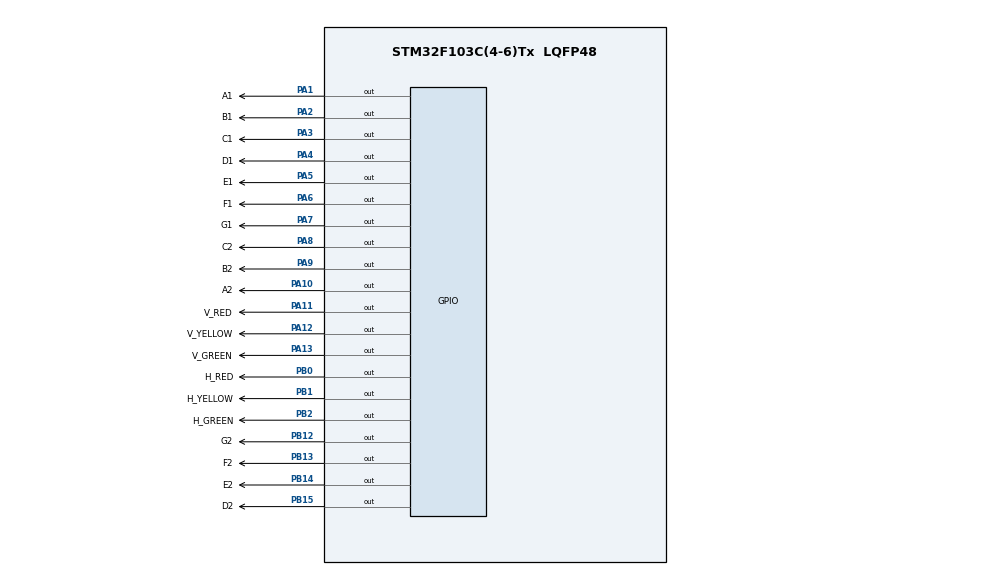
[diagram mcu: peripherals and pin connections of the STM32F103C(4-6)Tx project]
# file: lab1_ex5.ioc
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Mcu.Family=STM32F1
Mcu.Name=STM32F103C(4-6)Tx
Mcu.Package=LQFP48
NVIC.PriorityGroup=NVIC_PRIORITYGROUP_4
PA1.GPIO_Label=A1
PA1.Signal=GPIO_Output
PA10.GPIO_Label=A2
PA10.Signal=GPIO_Output
PA11.GPIO_Label=V_RED
PA11.Signal=GPIO_Output
PA12.GPIO_Label=V_YELLOW
PA12.Signal=GPIO_Output
PA13.GPIO_Label=V_GREEN
PA13.Signal=GPIO_Output
PA2.GPIO_Label=B1
PA2.Signal=GPIO_Output
PA3.GPIO_Label=C1
PA3.Signal=GPIO_Output
PA4.GPIO_Label=D1
PA4.Signal=GPIO_Output
PA5.GPIO_Label=E1
PA5.Signal=GPIO_Output
PA6.GPIO_Label=F1
PA6.Signal=GPIO_Output
PA7.GPIO_Label=G1
PA7.Signal=GPIO_Output
PA8.GPIO_Label=C2
PA8.Signal=GPIO_Output
PA9.GPIO_Label=B2
PA9.Signal=GPIO_Output
PB0.GPIO_Label=H_RED
PB0.Signal=GPIO_Output
PB1.GPIO_Label=H_YELLOW
PB1.Signal=GPIO_Output
PB12.GPIO_Label=G2
PB12.Signal=GPIO_Output
PB13.GPIO_Label=F2
PB13.Signal=GPIO_Output
PB14.GPIO_Label=E2
PB14.Signal=GPIO_Output
PB15.GPIO_Label=D2
PB15.Signal=GPIO_Output
PB2.GPIO_Label=H_GREEN
PB2.Signal=GPIO_Output
ProjectManager.HeapSize=0x200
ProjectManager.StackSize=0x400
ProjectManager.TargetToolchain=STM32CubeIDE
RCC.APB1Freq_Value=8000000
RCC.APB2Freq_Value=8000000
VP_SYS_VS_ND.Mode=No_Debug
board=custom

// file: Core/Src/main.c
/* USER CODE BEGIN Header */
/**
  ******************************************************************************
  * @file           : main.c
  * @brief          : Main program body
  ******************************************************************************
  * @attention
  *
  * <h2><center>&copy; Copyright (c) 2023 STMicroelectronics.
  * All rights reserved.</center></h2>
  *
  * This software component is licensed by ST under BSD 3-Clause license,
  * the "License"; You may not use this file except in compliance with the
  * License. You may obtain a copy of the License at:
  *                        opensource.org/licenses/BSD-3-Clause
  *
  ******************************************************************************
  */
/* USER CODE END Header */
#include "main.h"

void SystemClock_Config(void);
static void MX_GPIO_Init(void);

/* USER CODE BEGIN 0 */
void display7SEG_1(int num)
{
	switch (num)
	{
	case 0:
		HAL_GPIO_WritePin(A1_GPIO_Port, A1_Pin, RESET);
		HAL_GPIO_WritePin(B1_GPIO_Port, B1_Pin, RESET);
		HAL_GPIO_WritePin(C1_GPIO_Port, C1_Pin, RESET);
		HAL_GPIO_WritePin(D1_GPIO_Port, D1_Pin, RESET);
		HAL_GPIO_WritePin(E1_GPIO_Port, E1_Pin, RESET);
		HAL_GPIO_WritePin(F1_GPIO_Port, F1_Pin, RESET);
		HAL_GPIO_WritePin(G1_GPIO_Port, G1_Pin, SET);
		break;
	case 1:
		HAL_GPIO_WritePin(A1_GPIO_Port, A1_Pin, SET);
		HAL_GPIO_WritePin(B1_GPIO_Port, B1_Pin, RESET);
		HAL_GPIO_WritePin(C1_GPIO_Port, C1_Pin, RESET);
		HAL_GPIO_WritePin(D1_GPIO_Port, D1_Pin, SET);
		HAL_GPIO_WritePin(E1_GPIO_Port, E1_Pin, SET);
		HAL_GPIO_WritePin(F1_GPIO_Port, F1_Pin, SET);
		HAL_GPIO_WritePin(G1_GPIO_Port, G1_Pin, SET);
		break;
	case 2:
		HAL_GPIO_WritePin(A1_GPIO_Port, A1_Pin, RESET);
		HAL_GPIO_WritePin(B1_GPIO_Port, B1_Pin, RESET);
		HAL_GPIO_WritePin(C1_GPIO_Port, C1_Pin, SET);
		HAL_GPIO_WritePin(D1_GPIO_Port, D1_Pin, RESET);
		HAL_GPIO_WritePin(E1_GPIO_Port, E1_Pin, RESET);
		HAL_GPIO_WritePin(F1_GPIO_Port, F1_Pin, SET);
		HAL_GPIO_WritePin(G1_GPIO_Port, G1_Pin, RESET);
		break;
	case 3:
		HAL_GPIO_WritePin(A1_GPIO_Port, A1_Pin, RESET);
		HAL_GPIO_WritePin(B1_GPIO_Port, B1_Pin, RESET);
		HAL_GPIO_WritePin(C1_GPIO_Port, C1_Pin, RESET);
		HAL_GPIO_WritePin(D1_GPIO_Port, D1_Pin, RESET);
		HAL_GPIO_WritePin(E1_GPIO_Port, E1_Pin, SET);
		HAL_GPIO_WritePin(F1_GPIO_Port, F1_Pin, SET);
		HAL_GPIO_WritePin(G1_GPIO_Port, G1_Pin, RESET);
		break;
	case 4:
		HAL_GPIO_WritePin(A1_GPIO_Port, A1_Pin, SET);
		HAL_GPIO_WritePin(B1_GPIO_Port, B1_Pin, RESET);
		HAL_GPIO_WritePin(C1_GPIO_Port, C1_Pin, RESET);
		HAL_GPIO_WritePin(D1_GPIO_Port, D1_Pin, SET);
		HAL_GPIO_WritePin(E1_GPIO_Port, E1_Pin, SET);
		HAL_GPIO_WritePin(F1_GPIO_Port, F1_Pin, RESET);
		HAL_GPIO_WritePin(G1_GPIO_Port, G1_Pin, RESET);
		break;
	case 5:
		HAL_GPIO_WritePin(A1_GPIO_Port, A1_Pin, RESET);
		HAL_GPIO_WritePin(B1_GPIO_Port, B1_Pin, SET);
		HAL_GPIO_WritePin(C1_GPIO_Port, C1_Pin, RESET);
		HAL_GPIO_WritePin(D1_GPIO_Port, D1_Pin, RESET);
		HAL_GPIO_WritePin(E1_GPIO_Port, E1_Pin, SET);
		HAL_GPIO_WritePin(F1_GPIO_Port, F1_Pin, RESET);
		HAL_GPIO_WritePin(G1_GPIO_Port, G1_Pin, RESET);
		break;
	case 6:
		HAL_GPIO_WritePin(A1_GPIO_Port, A1_Pin, RESET);
		HAL_GPIO_WritePin(B1_GPIO_Port, B1_Pin, SET);
		HAL_GPIO_WritePin(C1_GPIO_Port, C1_Pin, RESET);
		HAL_GPIO_WritePin(D1_GPIO_Port, D1_Pin, RESET);
		HAL_GPIO_WritePin(E1_GPIO_Port, E1_Pin, RESET);
		HAL_GPIO_WritePin(F1_GPIO_Port, F1_Pin, RESET);
		HAL_GPIO_WritePin(G1_GPIO_Port, G1_Pin, RESET);
		break;
	case 7:
		HAL_GPIO_WritePin(A1_GPIO_Port, A1_Pin, RESET);
		HAL_GPIO_WritePin(B1_GPIO_Port, B1_Pin, RESET);
		HAL_GPIO_WritePin(C1_GPIO_Port, C1_Pin, RESET);
		HAL_GPIO_WritePin(D1_GPIO_Port, D1_Pin, SET);
		HAL_GPIO_WritePin(E1_GPIO_Port, E1_Pin, SET);
		HAL_GPIO_WritePin(F1_GPIO_Port, F1_Pin, SET);
		HAL_GPIO_WritePin(G1_GPIO_Port, G1_Pin, SET);
		break;
	case 8:
		HAL_GPIO_WritePin(A1_GPIO_Port, A1_Pin, RESET);
		HAL_GPIO_WritePin(B1_GPIO_Port, B1_Pin, RESET);
		HAL_GPIO_WritePin(C1_GPIO_Port, C1_Pin, RESET);
		HAL_GPIO_WritePin(D1_GPIO_Port, D1_Pin, RESET);
		HAL_GPIO_WritePin(E1_GPIO_Port, E1_Pin, RESET);
		HAL_GPIO_WritePin(F1_GPIO_Port, F1_Pin, RESET);
		HAL_GPIO_WritePin(G1_GPIO_Port, G1_Pin, RESET);
		break;
	case 9:
		HAL_GPIO_WritePin(A1_GPIO_Port, A1_Pin, RESET);
		HAL_GPIO_WritePin(B1_GPIO_Port, B1_Pin, RESET);
		HAL_GPIO_WritePin(C1_GPIO_Port, C1_Pin, RESET);
		HAL_GPIO_WritePin(D1_GPIO_Port, D1_Pin, RESET);
		HAL_GPIO_WritePin(E1_GPIO_Port, E1_Pin, SET);
		HAL_GPIO_WritePin(F1_GPIO_Port, F1_Pin, RESET);
		HAL_GPIO_WritePin(G1_GPIO_Port, G1_Pin, RESET);
	}
}
void display7SEG_2(int num)
{
	switch (num)
	{
	case 0:
		HAL_GPIO_WritePin(A2_GPIO_Port, A2_Pin, RESET);
		HAL_GPIO_WritePin(B2_GPIO_Port, B2_Pin, RESET);
		HAL_GPIO_WritePin(C2_GPIO_Port, C2_Pin, RESET);
		HAL_GPIO_WritePin(D2_GPIO_Port, D2_Pin, RESET);
		HAL_GPIO_WritePin(E2_GPIO_Port, E2_Pin, RESET);
		HAL_GPIO_WritePin(F2_GPIO_Port, F2_Pin, RESET);
		HAL_GPIO_WritePin(G2_GPIO_Port, G2_Pin, SET);
		break;
	case 1:
		HAL_GPIO_WritePin(A2_GPIO_Port, A2_Pin, SET);
		HAL_GPIO_WritePin(B2_GPIO_Port, B2_Pin, RESET);
		HAL_GPIO_WritePin(C2_GPIO_Port, C2_Pin, RESET);
		HAL_GPIO_WritePin(D2_GPIO_Port, D2_Pin, SET);
		HAL_GPIO_WritePin(E2_GPIO_Port, E2_Pin, SET);
		HAL_GPIO_WritePin(F2_GPIO_Port, F2_Pin, SET);
		HAL_GPIO_WritePin(G2_GPIO_Port, G2_Pin, SET);
		break;
	case 2:
		HAL_GPIO_WritePin(A2_GPIO_Port, A2_Pin, RESET);
		HAL_GPIO_WritePin(B2_GPIO_Port, B2_Pin, RESET);
		HAL_GPIO_WritePin(C2_GPIO_Port, C2_Pin, SET);
		HAL_GPIO_WritePin(D2_GPIO_Port, D2_Pin, RESET);
		HAL_GPIO_WritePin(E2_GPIO_Port, E2_Pin, RESET);
		HAL_GPIO_WritePin(F2_GPIO_Port, F2_Pin, SET);
		HAL_GPIO_WritePin(G2_GPIO_Port, G2_Pin, RESET);
		break;
	case 3:
		HAL_GPIO_WritePin(A2_GPIO_Port, A2_Pin, RESET);
		HAL_GPIO_WritePin(B2_GPIO_Port, B2_Pin, RESET);
		HAL_GPIO_WritePin(C2_GPIO_Port, C2_Pin, RESET);
		HAL_GPIO_WritePin(D2_GPIO_Port, D2_Pin, RESET);
		HAL_GPIO_WritePin(E2_GPIO_Port, E2_Pin, SET);
		HAL_GPIO_WritePin(F2_GPIO_Port, F2_Pin, SET);
		HAL_GPIO_WritePin(G2_GPIO_Port, G2_Pin, RESET);
		break;
	case 4:
		HAL_GPIO_WritePin(A2_GPIO_Port, A2_Pin, SET);
		HAL_GPIO_WritePin(B2_GPIO_Port, B2_Pin, RESET);
		HAL_GPIO_WritePin(C2_GPIO_Port, C2_Pin, RESET);
		HAL_GPIO_WritePin(D2_GPIO_Port, D2_Pin, SET);
		HAL_GPIO_WritePin(E2_GPIO_Port, E2_Pin, SET);
		HAL_GPIO_WritePin(F2_GPIO_Port, F2_Pin, RESET);
		HAL_GPIO_WritePin(G2_GPIO_Port, G2_Pin, RESET);
		break;
	case 5:
		HAL_GPIO_WritePin(A2_GPIO_Port, A2_Pin, RESET);
		HAL_GPIO_WritePin(B2_GPIO_Port, B2_Pin, SET);
		HAL_GPIO_WritePin(C2_GPIO_Port, C2_Pin, RESET);
		HAL_GPIO_WritePin(D2_GPIO_Port, D2_Pin, RESET);
		HAL_GPIO_WritePin(E2_GPIO_Port, E2_Pin, SET);
		HAL_GPIO_WritePin(F2_GPIO_Port, F2_Pin, RESET);
		HAL_GPIO_WritePin(G2_GPIO_Port, G2_Pin, RESET);
		break;
	case 6:
		HAL_GPIO_WritePin(A2_GPIO_Port, A2_Pin, RESET);
		HAL_GPIO_WritePin(B2_GPIO_Port, B2_Pin, SET);
		HAL_GPIO_WritePin(C2_GPIO_Port, C2_Pin, RESET);
		HAL_GPIO_WritePin(D2_GPIO_Port, D2_Pin, RESET);
		HAL_GPIO_WritePin(E2_GPIO_Port, E2_Pin, RESET);
		HAL_GPIO_WritePin(F2_GPIO_Port, F2_Pin, RESET);
		HAL_GPIO_WritePin(G2_GPIO_Port, G2_Pin, RESET);
		break;
	case 7:
		HAL_GPIO_WritePin(A2_GPIO_Port, A2_Pin, RESET);
		HAL_GPIO_WritePin(B2_GPIO_Port, B2_Pin, RESET);
		HAL_GPIO_WritePin(C2_GPIO_Port, C2_Pin, RESET);
		HAL_GPIO_WritePin(D2_GPIO_Port, D2_Pin, SET);
		HAL_GPIO_WritePin(E2_GPIO_Port, E2_Pin, SET);
		HAL_GPIO_WritePin(F2_GPIO_Port, F2_Pin, SET);
		HAL_GPIO_WritePin(G2_GPIO_Port, G2_Pin, SET);
		break;
	case 8:
		HAL_GPIO_WritePin(A2_GPIO_Port, A2_Pin, RESET);
		HAL_GPIO_WritePin(B2_GPIO_Port, B2_Pin, RESET);
		HAL_GPIO_WritePin(C2_GPIO_Port, C2_Pin, RESET);
		HAL_GPIO_WritePin(D2_GPIO_Port, D2_Pin, RESET);
		HAL_GPIO_WritePin(E2_GPIO_Port, E2_Pin, RESET);
		HAL_GPIO_WritePin(F2_GPIO_Port, F2_Pin, RESET);
		HAL_GPIO_WritePin(G2_GPIO_Port, G2_Pin, RESET);
		break;
	case 9:
		HAL_GPIO_WritePin(A2_GPIO_Port, A2_Pin, RESET);
		HAL_GPIO_WritePin(B2_GPIO_Port, B2_Pin, RESET);
		HAL_GPIO_WritePin(C2_GPIO_Port, C2_Pin, RESET);
		HAL_GPIO_WritePin(D2_GPIO_Port, D2_Pin, RESET);
		HAL_GPIO_WritePin(E2_GPIO_Port, E2_Pin, SET);
		HAL_GPIO_WritePin(F2_GPIO_Port, F2_Pin, RESET);
		HAL_GPIO_WritePin(G2_GPIO_Port, G2_Pin, RESET);
	}
}
void toggle_port(GPIO_TypeDef *port, uint16_t pin)
{
	HAL_GPIO_TogglePin(port, pin);
}
void run_traffic_light(TRAFFIC_LIGHT *light, STATE *light_state)
{
	  switch (*light_state)
	  {
	  case red:
		  if (light->red_time == 0)
		  {
			  toggle_port(light->LED_RED_Port, light->LED_RED_Pin);
			  *light_state = green;
			  light->green_time = GREEN;
			  toggle_port(light->LED_GREEN_Port, light->LED_GREEN_Pin);
		  }
		  else
		  {
			  light->red_time--;
			  break;
		  }

	  case green:
		  if (light->green_time == 0)
		  {
			  toggle_port(light->LED_GREEN_Port, light->LED_GREEN_Pin);
			  *light_state = yellow;
			  light->yellow_time = YELLOW;
			  toggle_port(light->LED_YELLOW_Port, light->LED_YELLOW_Pin);
		  }
		  else
		  {
			  light->green_time--;
			  break;
		  }
	  case yellow:
		  if (light->yellow_time == 0)
		  {
			  toggle_port(light->LED_YELLOW_Port, light->LED_YELLOW_Pin);
			  *light_state = red;
			  light->red_time = RED;
			  toggle_port(light->LED_RED_Port, light->LED_RED_Pin);
		  }
		  else
		  {
			  light->yellow_time--;
			  break;
		  }
	  default:
		  light->red_time--;
	  }
}
/* USER CODE END 0 */

int main(void)
{

  /* MCU Configuration--------------------------------------------------------*/

  /* Reset of all peripherals, Initializes the Flash interface and the Systick. */
  HAL_Init();

  /* Configure the system clock */
  SystemClock_Config();

  /* Initialize all configured peripherals */
  MX_GPIO_Init();

  /* Infinite loop */
  /* USER CODE BEGIN WHILE */
  TRAFFIC_LIGHT v_light, h_light;
  STATE v_light_state = red, h_light_state = green;

  HAL_GPIO_WritePin(V_RED_GPIO_Port, V_RED_Pin, RESET);
  HAL_GPIO_WritePin(V_YELLOW_GPIO_Port, V_YELLOW_Pin, SET);
  HAL_GPIO_WritePin(V_GREEN_GPIO_Port, V_GREEN_Pin, SET);

  HAL_GPIO_WritePin(H_RED_GPIO_Port, H_RED_Pin, SET);
  HAL_GPIO_WritePin(H_YELLOW_GPIO_Port, H_YELLOW_Pin, SET);
  HAL_GPIO_WritePin(H_GREEN_GPIO_Port, H_GREEN_Pin, RESET);

  v_light.LED_RED_Port = V_RED_GPIO_Port;
  v_light.LED_YELLOW_Port = V_YELLOW_GPIO_Port;
  v_light.LED_GREEN_Port = V_GREEN_GPIO_Port;
  v_light.LED_RED_Pin = V_RED_Pin;
  v_light.LED_YELLOW_Pin = V_YELLOW_Pin;
  v_light.LED_GREEN_Pin = V_GREEN_Pin;
  v_light.red_time = RED;
  v_light.yellow_time = 0;
  v_light.green_time = 0;

  h_light.LED_RED_Port = H_RED_GPIO_Port;
  h_light.LED_YELLOW_Port = H_YELLOW_GPIO_Port;
  h_light.LED_GREEN_Port = H_GREEN_GPIO_Port;
  h_light.LED_RED_Pin = H_RED_Pin;
  h_light.LED_YELLOW_Pin = H_YELLOW_Pin;
  h_light.LED_GREEN_Pin = H_GREEN_Pin;
  h_light.red_time = 0;
  h_light.yellow_time = 0;
  h_light.green_time = GREEN;
  while (1)
  {
	  display7SEG_1(v_light.red_time + v_light.yellow_time + v_light.green_time);
	  display7SEG_2(h_light.red_time + h_light.yellow_time + h_light.green_time);
	  run_traffic_light(&v_light, &v_light_state);
	  run_traffic_light(&h_light, &h_light_state);
    /* USER CODE END WHILE */
	  HAL_Delay(1000);
  }
}

void SystemClock_Config(void)
{
  RCC_OscInitTypeDef RCC_OscInitStruct = {0};
  RCC_ClkInitTypeDef RCC_ClkInitStruct = {0};

  /** Initializes the RCC Oscillators according to the specified parameters
  * in the RCC_OscInitTypeDef structure.
  */
  RCC_OscInitStruct.OscillatorType = RCC_OSCILLATORTYPE_HSI;
  RCC_OscInitStruct.HSIState = RCC_HSI_ON;
  RCC_OscInitStruct.HSICalibrationValue = RCC_HSICALIBRATION_DEFAULT;
  RCC_OscInitStruct.PLL.PLLState = RCC_PLL_NONE;
  if (HAL_RCC_OscConfig(&RCC_OscInitStruct) != HAL_OK)
  {
    Error_Handler();
  }
  /** Initializes the CPU, AHB and APB buses clocks
  */
  RCC_ClkInitStruct.ClockType = RCC_CLOCKTYPE_HCLK|RCC_CLOCKTYPE_SYSCLK
                              |RCC_CLOCKTYPE_PCLK1|RCC_CLOCKTYPE_PCLK2;
  RCC_ClkInitStruct.SYSCLKSource = RCC_SYSCLKSOURCE_HSI;
  RCC_ClkInitStruct.AHBCLKDivider = RCC_SYSCLK_DIV1;
  RCC_ClkInitStruct.APB1CLKDivider = RCC_HCLK_DIV1;
  RCC_ClkInitStruct.APB2CLKDivider = RCC_HCLK_DIV1;

  if (HAL_RCC_ClockConfig(&RCC_ClkInitStruct, FLASH_LATENCY_0) != HAL_OK)
  {
    Error_Handler();
  }
}

static void MX_GPIO_Init(void)
{
  GPIO_InitTypeDef GPIO_InitStruct = {0};

  /* GPIO Ports Clock Enable */
  __HAL_RCC_GPIOA_CLK_ENABLE();
  __HAL_RCC_GPIOB_CLK_ENABLE();

  /*Configure GPIO pin Output Level */
  HAL_GPIO_WritePin(GPIOA, A1_Pin|B1_Pin|C1_Pin|D1_Pin
                          |E1_Pin|F1_Pin|G1_Pin|C2_Pin
                          |B2_Pin|A2_Pin|V_RED_Pin|V_YELLOW_Pin
                          |V_GREEN_Pin, GPIO_PIN_RESET);

  /*Configure GPIO pin Output Level */
  HAL_GPIO_WritePin(GPIOB, H_RED_Pin|H_YELLOW_Pin|H_GREEN_Pin|G2_Pin
                          |F2_Pin|E2_Pin|D2_Pin, GPIO_PIN_RESET);

  /*Configure GPIO pins : A1_Pin B1_Pin C1_Pin D1_Pin
                           E1_Pin F1_Pin G1_Pin C2_Pin
                           B2_Pin A2_Pin V_RED_Pin V_YELLOW_Pin
                           V_GREEN_Pin */
  GPIO_InitStruct.Pin = A1_Pin|B1_Pin|C1_Pin|D1_Pin
                          |E1_Pin|F1_Pin|G1_Pin|C2_Pin
                          |B2_Pin|A2_Pin|V_RED_Pin|V_YELLOW_Pin
                          |V_GREEN_Pin;
  GPIO_InitStruct.Mode = GPIO_MODE_OUTPUT_PP;
  GPIO_InitStruct.Pull = GPIO_NOPULL;
  GPIO_InitStruct.Speed = GPIO_SPEED_FREQ_LOW;
  HAL_GPIO_Init(GPIOA, &GPIO_InitStruct);

  /*Configure GPIO pins : H_RED_Pin H_YELLOW_Pin H_GREEN_Pin G2_Pin
                           F2_Pin E2_Pin D2_Pin */
  GPIO_InitStruct.Pin = H_RED_Pin|H_YELLOW_Pin|H_GREEN_Pin|G2_Pin
                          |F2_Pin|E2_Pin|D2_Pin;
  GPIO_InitStruct.Mode = GPIO_MODE_OUTPUT_PP;
  GPIO_InitStruct.Pull = GPIO_NOPULL;
  GPIO_InitStruct.Speed = GPIO_SPEED_FREQ_LOW;
  HAL_GPIO_Init(GPIOB, &GPIO_InitStruct);

}

void Error_Handler(void)
{
  __disable_irq();
  while (1)
  {
  }
}

/************************ (C) COPYRIGHT STMicroelectronics *****END OF FILE****/
